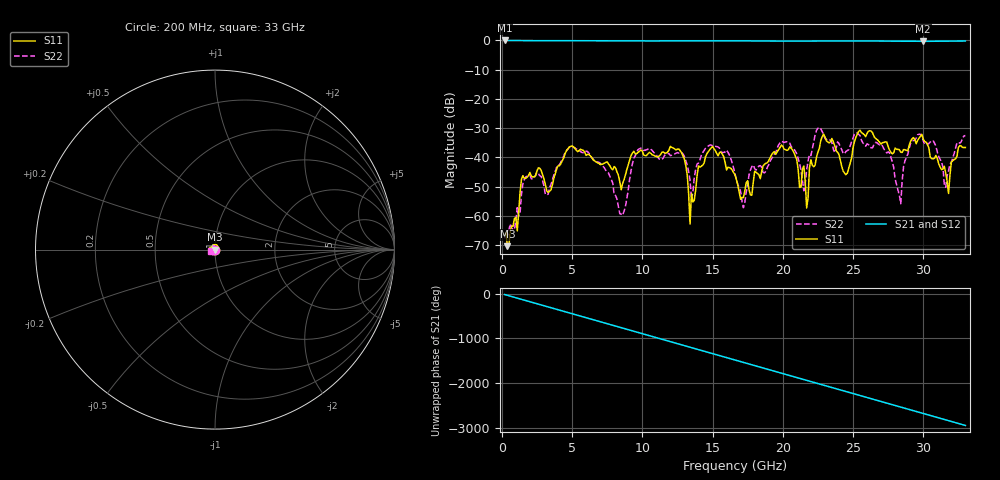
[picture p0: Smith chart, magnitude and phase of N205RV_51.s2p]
# GHZ S RI R 50
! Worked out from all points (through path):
!   329 points, 200 MHz to 33 GHz, reference 50 ohm
!   highest |S21| = -0.02 dB at 200 MHz (marker M1); lowest = -0.3 dB at 30 GHz (marker M2)
!   group delay of S21, straight-line fit = 248 ps
!   lowest |S11| = -70.3 dB at 400 MHz (marker M3), VSWR 1.00, Z = 50 + j0.0142 ohm
!   |S11| at or under -10 dB: start of sweep to end of sweep
!   |S22| runs from -67.7 to -29.7 dB; largest |S21 - S12| = 0.0019
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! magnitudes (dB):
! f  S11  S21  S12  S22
! 200 MHz  -66.6  0.0  0.0  -67.7
! 400 MHz  -70.3  0.0  0.0  -66.9
! 1.5 GHz  -46.2  -0.1  -0.1  -49.1
! 5.7 GHz  -37.4  -0.1  -0.1  -38.3
! 8.6 GHz  -48.9  -0.1  -0.1  -59.8
! 9.6 GHz  -38.7  -0.2  -0.2  -38.1
! 11.2 GHz  -39.5  -0.2  -0.2  -40.5
! 12.8 GHz  -38.5  -0.2  -0.2  -38.4
! 13.4 GHz  -62.8  -0.1  -0.1  -47.7
! 15 GHz  -36.3  -0.1  -0.1  -36.0
! 16.6 GHz  -46.0  -0.1  -0.1  -45.6
! 17.2 GHz  -53.7  -0.2  -0.2  -57.2
! 20.5 GHz  -36.4  -0.3  -0.3  -35.1
! 21.5 GHz  -42.9  -0.2  -0.2  -51.4
! 21.7 GHz  -57.3  -0.2  -0.2  -44.3
! 22.1 GHz  -42.6  -0.2  -0.2  -37.3
! 27.6 GHz  -37.5  -0.3  -0.3  -38.5
! 28.4 GHz  -38.2  -0.3  -0.3  -55.8
! 29.1 GHz  -34.5  -0.3  -0.3  -35.1
! 30 GHz  -33.8  -0.3  -0.3  -34.3
! 31.8 GHz  -52.3  -0.3  -0.3  -44.6
! 33 GHz  -36.6  -0.2  -0.2  -32.5
